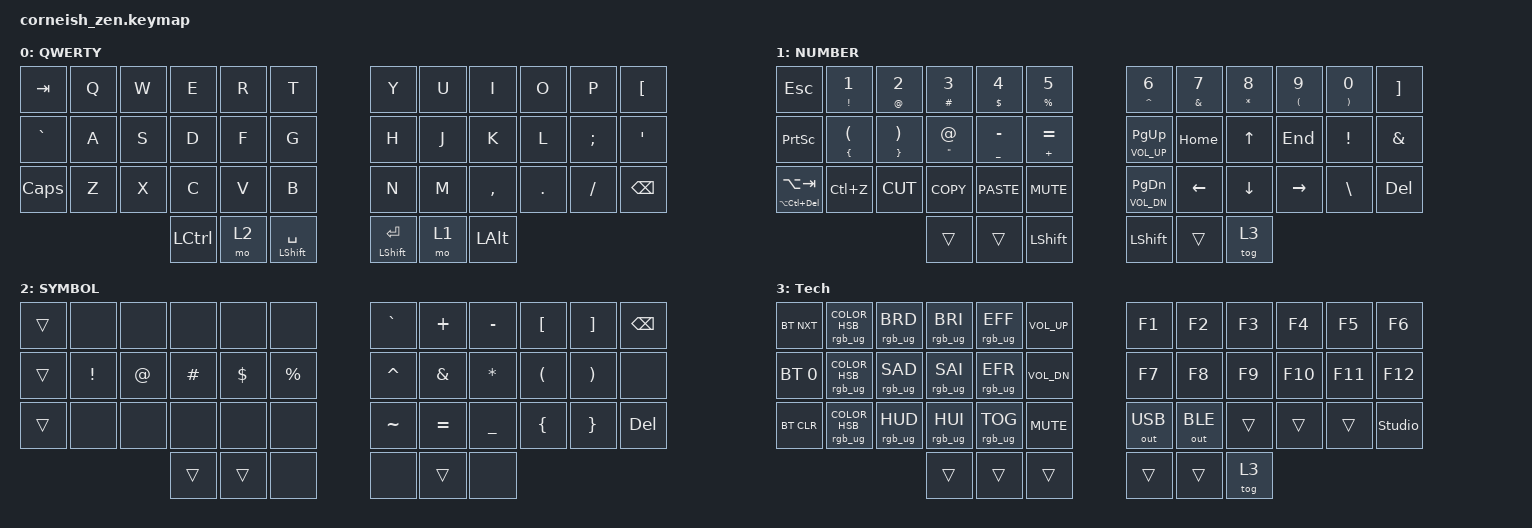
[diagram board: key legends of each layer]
/*
 * Copyright (c) 2020 The ZMK Contributors
 *
 * SPDX-License-Identifier: MIT
 */

#include <behaviors.dtsi>
#include <dt-bindings/zmk/bt.h>
#include <dt-bindings/zmk/keys.h>
#include <dt-bindings/zmk/outputs.h>
#include <dt-bindings/zmk/rgb.h>

/ {
    chosen {
        zmk,matrix_transform = &default_transform;

        // zmk,matrix_transform = &five_column_transform;
    };
};

/ {
    behaviors {
        td0: td0 {
            compatible = "zmk,behavior-tap-dance";
            label = "TD0";
            #binding-cells = <0>;
            bindings = <&kp LEFT_SHIFT>, <&kp CAPS>;
        };
    };

    combos {
        compatible = "zmk,combos";

        combo_back {
            bindings = <&kp BSPC>;
            key-positions = <16 15 14>;
        };

        combo_del {
            bindings = <&kp DEL>;
            key-positions = <19 20 21>;
        };
    };

    keymap {
        compatible = "zmk,keymap";

        default_layer {
            display-name = "QWERTY";

            // --------------------------------------------------------------------------------
            // |  TAB |  Q  |  W  |  E  |  R  |  T  |   |  Y  |  U   |  I  |  O  |  P  | BKSP |
            // | CTRL |  A  |  S  |  D  |  F  |  G  |   |  H  |  J   |  K  |  L  |  ;  |  '   | 
            // | SHFT |  Z  |  X  |  C  |  V  |  B  |   |  N  |  M   |  ,  |  .  |  /  | ESC  |
            //                    | GUI | LWR | SPC |   | ENT | RSE  | ALT |

            bindings = <
&kp TAB    &kp Q  &kp W  &kp E      &kp R  &kp T              &kp Y            &kp U  &kp I      &kp O    &kp P     &kp LBKT
&kp GRAVE  &kp A  &kp S  &kp D      &kp F  &kp G              &kp H            &kp J  &kp K      &kp L    &kp SEMI  &kp SQT
&kp CAPS   &kp Z  &kp X  &kp C      &kp V  &kp B              &kp N            &kp M  &kp COMMA  &kp DOT  &kp FSLH  &kp BSPC
                         &kp LCTRL  &mo 2  &mt LSHFT SPACE    &mt LSHFT ENTER  &mo 1  &kp LALT
            >;
        };

        lower_layer {
            display-name = "NUMBER";

            // -----------------------------------------------------------------------------------------
            // |  TAB |  1  |  2  |  3  |  4  |  5  |   |  6  |  7  |  8  |  9  |  0  | BKSP |
            // | BTCLR| BT1 | BT2 | BT3 | BT4 | BT5 |   | LFT | DWN |  UP | RGT |     |      |
            // | SHFT |     |     |     |     |     |   |     |     |     |     |     |      |
            //                    | GUI |     | SPC |   | ENT |     | ALT |

            bindings = <
&kp ESC                  &mt EXCL N1    &mt AT N2      &mt HASH N3  &mt DLLR N4      &mt PRCNT N5      &mt CARET N6        &mt AMPS N7  &mt STAR N8  &mt LPAR N9  &mt RPAR N0  &kp RBKT
&kp PSCRN                &mt LBRC LPAR  &mt RBRC RPAR  &mt DQT AT   &mt UNDER MINUS  &mt PLUS EQUAL    &mt C_VOL_UP PG_UP  &kp HOME     &kp UP       &kp END      &kp EXCL     &kp AMPS
&mt LA(LC(DEL)) LA(TAB)  &kp LC(Z)      &kp K_CUT      &kp K_COPY   &kp K_PASTE      &kp K_MUTE        &mt C_VOL_DN PG_DN  &kp LEFT     &kp DOWN     &kp RIGHT    &kp BSLH     &kp DEL
                                                       &trans       &trans           &kp LSHFT         &kp LSHFT           &trans       &tog 3
            >;
        };

        raise_layer {
            display-name = "SYMBOL";

            // -----------------------------------------------------------------------------------------
            // |  TAB |  !  |  @  |  #  |  $  |  %  |   |  ^  |  &  |  *  |  (  |  )  | BKSP |
            // | CTRL |     |     |     |     |     |   |  -  |  =  |  [  |  ]  |  \  |  `   |
            // | SHFT |     |     |     |     |     |   |  _  |  +  |  {  |  }  | "|" |  ~   |
            //                    | GUI |     | SPC |   | ENT |     | ALT |

            bindings = <
&trans  &none     &none   &none     &none     &none        &kp GRAVE  &kp PLUS   &kp MINUS  &kp LBKT  &kp RBKT  &kp BSPC
&trans  &kp EXCL  &kp AT  &kp HASH  &kp DLLR  &kp PRCNT    &kp CARET  &kp AMPS   &kp ASTRK  &kp LPAR  &kp RPAR  &none
&trans  &none     &none   &none     &none     &none        &kp TILDE  &kp EQUAL  &kp UNDER  &kp LBRC  &kp RBRC  &kp DEL
                          &trans    &trans    &none        &none      &trans     &none
            >;
        };

        technical_layer {
            bindings = <
&bt BT_NXT    &rgb_ug RGB_COLOR_HSB(0,100,50)   &rgb_ug RGB_BRD  &rgb_ug RGB_BRI  &rgb_ug RGB_EFF  &kp C_VOL_UP    &kp F1        &kp F2        &kp F3  &kp F4   &kp F5   &kp F6
&bt BT_SEL 0  &rgb_ug RGB_COLOR_HSB(56,100,50)  &rgb_ug RGB_SAD  &rgb_ug RGB_SAI  &rgb_ug RGB_EFR  &kp C_VOL_DN    &kp F7        &kp F8        &kp F9  &kp F10  &kp F11  &kp F12
&bt BT_CLR    &rgb_ug RGB_COLOR_HSB(74,100,50)  &rgb_ug RGB_HUD  &rgb_ug RGB_HUI  &rgb_ug RGB_TOG  &kp K_MUTE      &out OUT_USB  &out OUT_BLE  &trans  &trans   &trans   &studio_unlock
                                                                 &trans           &trans           &trans          &trans        &trans        &tog 3
            >;

            label = "Tech";
        };
    };
};
